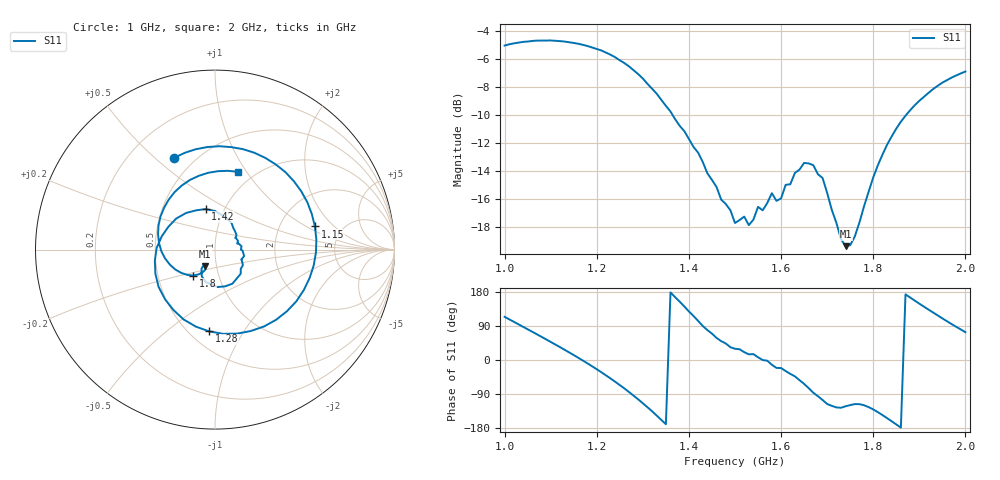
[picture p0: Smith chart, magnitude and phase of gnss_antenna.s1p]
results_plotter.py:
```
import numpy as np
import skrf as rf
from matplotlib import pyplot as plt
from matplotlib import cm as cm
from matplotlib.colors import LogNorm  

def polar_2_rectangular(mag, angles):
    return mag * np.exp(1j*angles)

lna_2_cal = rf.Network('/Users/ricardogoncalves/Documents/GitHub/blog-sandbox/images/post15/lna_sparams_2_cal.s2p')
lna_2_cal.name = 'LNA measurement'
lna_2_cal.frequency.unit = 'ghz'

lna_sim = rf.Network('/Users/ricardogoncalves/Documents/GitHub/blog-sandbox/images/post15/analysis_bfp740f.s2p')
lna_sim.name = 'LNA simulation'
lna_sim.frequency.unit = 'ghz'

antenna = rf.Network('/Users/ricardogoncalves/Documents/GitHub/blog-sandbox/images/post15/gnss_antenna.s1p')
antenna.frequency.unit = 'ghz'

#gd = abs(lna_cal.s21.group_delay) *1e9

#fig, ax = plt.subplots()
#antenna.plot_s_db(label='Full Band Response')
#antenna['1.55-1.61ghz'].plot_s_db(lw=3, color = 'r', label='Band of interest')

fig, ax = plt.subplots()
lna_2_cal.plot_s_db()
lna_2_cal['1.55-1.61ghz'].plot_s_db(lw=3, color='r', label='')
ax.set_ylim((-40, 30))

fig, ax = plt.subplots()
lna_sim.plot_s_db()
lna_sim['1.55-1.61ghz'].plot_s_db(lw=3, color='r', label='')
ax.set_ylim((-40, 30))

plt.show()
```
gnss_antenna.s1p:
#  HZ  S  RI  R  50.00
! Rohde & Schwarz Vector Network Analyzer
! Rohde-Schwarz,ZNB20-2Port,1311601062102243,3.20
! Created: UTC 10/7/2022, 3:43:22 PM
! freq[Hz]  re:S11  im:S11
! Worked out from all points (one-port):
!   101 points, 1 GHz to 2 GHz, reference 50 ohm
!   lowest |S11| = -19.4 dB at 1.74 GHz (marker M1), VSWR 1.24, Z = 43.9 - j8.1 ohm
!   |S11| at or under -10 dB: 1.365 GHz to 1.871 GHz (506.9 MHz wide, 31.3 % of centre)
!   S11 on the Smith chart (normalised r, x): 1 GHz: 0.39, +0.58; 1.15 GHz: 3.16, +1.21; 1.28 GHz: 0.62, -0.71; 1.42 GHz: 0.82, +0.39; 1.8 GHz: 0.75, -0.23; 2 GHz: 0.84, +0.91
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1e9  -0.2268 0.5114
1.07e9  0.2191 0.5397
1.15e9  0.5567 0.1289
1.21e9  0.4537 -0.2876
1.28e9  -0.0332 -0.4553
1.34e9  -0.3321 -0.134
1.42e9  -0.0529 0.2259
1.53e9  0.1236 0.033
1.63e9  0.1434 -0.1344
1.67e9  0.013 -0.2089
1.74e9  -0.0572 -0.0912
1.8e9  -0.1226 -0.1443
1.9e9  -0.3035 0.1847
2e9  0.1286 0.4332
